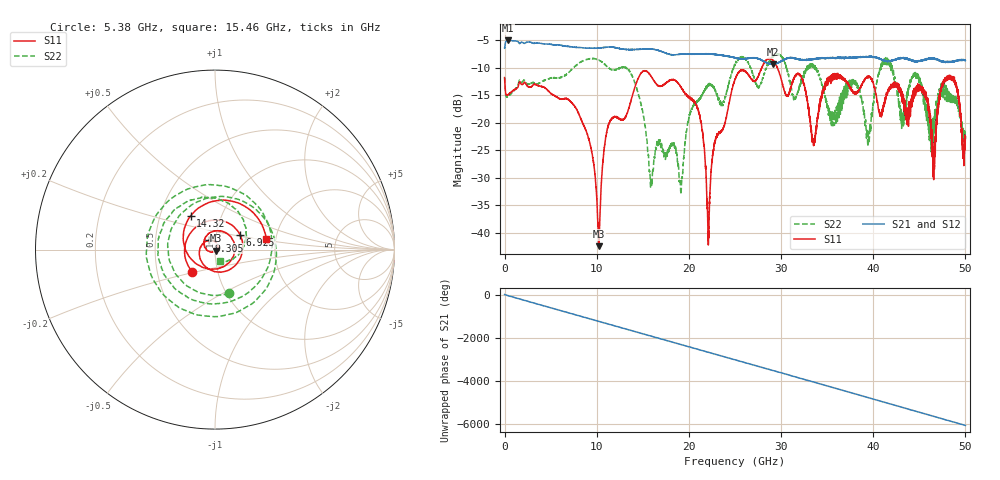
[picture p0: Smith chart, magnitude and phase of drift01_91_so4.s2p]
!Created with skrf (http://scikit-rf.org).
# Hz S RI R 50.0
!freq ReS11 ImS11 ReS21 ImS21 ReS12 ImS12 ReS22 ImS22
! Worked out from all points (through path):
!   10001 points, 300 kHz to 50 GHz, reference 50 ohm
!   highest |S21| = -5.05 dB at 365.3 MHz (marker M1); lowest = -9.4 dB at 29.08 GHz (marker M2)
!   group delay of S21, straight-line fit = 336 ps
!   lowest |S11| = -42.5 dB at 10.23 GHz (marker M3), VSWR 1.02, Z = 50.4 - j0.634 ohm
!   |S11| at or under -10 dB: start of sweep to 27.91 GHz; 29.6 GHz to end of sweep
!   |S22| runs from -32.8 to -7.5 dB; largest |S21 - S12| = 0.015
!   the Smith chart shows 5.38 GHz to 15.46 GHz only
!   S11 on the Smith chart (normalised r, x): 5.38 GHz: 0.76, -0.19; 6.925 GHz: 1.31, +0.22; 9.305 GHz: 0.93, +0.09; 14.32 GHz: 0.72, +0.28; 15.46 GHz: 1.78, +0.22
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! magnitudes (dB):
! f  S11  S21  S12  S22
! 300 kHz  -11.8  -6.4  -6.5  -11.8
! 365.3 MHz  -14.9  -5.1  -5.1  -15.2
! 5.38 GHz  -15.1  -5.9  -5.9  -11.8
! 6.925 GHz  -15.8  -6.1  -6.1  -11.0
! 8.335 GHz  -19.5  -6.4  -6.4  -8.9
! 9.305 GHz  -24.1  -6.5  -6.5  -8.4
! 10.23 GHz  -42.5  -6.4  -6.4  -8.6
! 11.23 GHz  -20.7  -6.3  -6.2  -9.9
! 14.32 GHz  -12.7  -6.7  -6.7  -13.6
! 15.46 GHz  -10.7  -6.6  -6.6  -23.3
! 16.67 GHz  -13.3  -6.9  -6.9  -23.3
! 19.14 GHz  -13.6  -7.6  -7.6  -32.6
! 20.86 GHz  -17.0  -7.6  -7.5  -16.3
! 22.12 GHz  -41.8  -7.5  -7.5  -13.4
! 25 GHz  -12.1  -8.2  -8.2  -9.5
! 29.08 GHz  -8.6  -9.4  -9.4  -8.0
! 33.34 GHz  -22.6  -8.5  -8.5  -9.4
! 39.47 GHz  -11.6  -8.1  -8.0  -22.3
! 41.67 GHz  -13.9  -8.8  -8.8  -8.9
! 46.55 GHz  -27.5  -8.3  -8.3  -19.9
! 48.52 GHz  -11.7  -9.0  -8.9  -15.0
! 50 GHz  -22.8  -8.7  -8.7  -23.1
